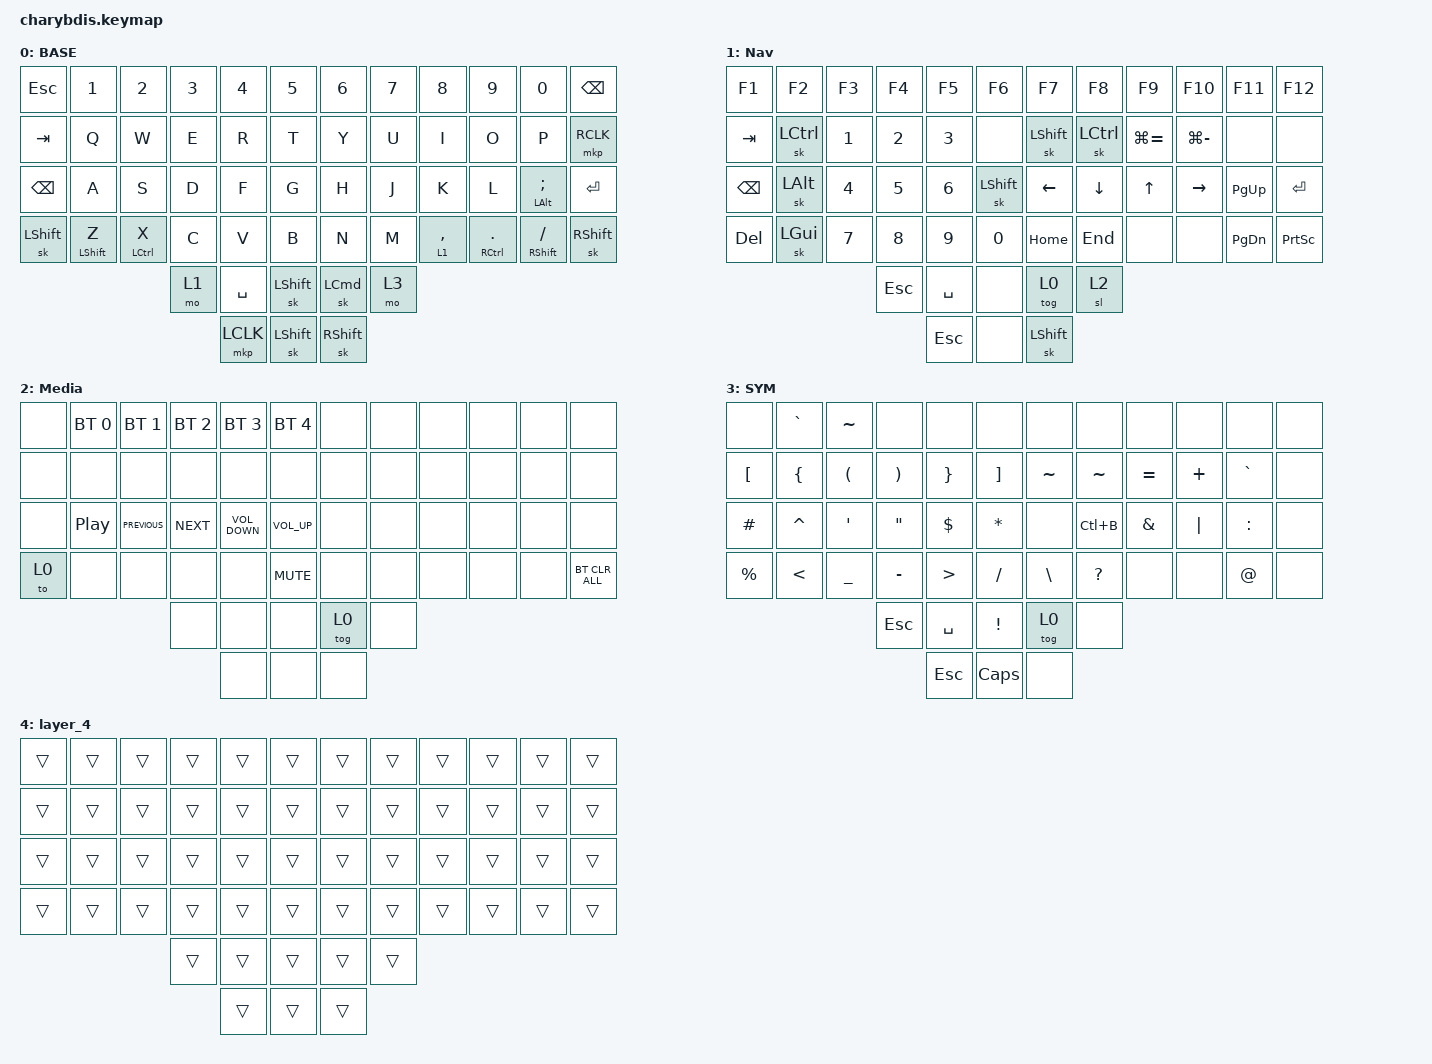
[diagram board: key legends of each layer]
#include <dt-bindings/zmk/mouse.h>
#include <behaviors/mouse_keys.dtsi>
#include <behaviors.dtsi>
#include <dt-bindings/zmk/bt.h>
#include <dt-bindings/zmk/keys.h>
#include <dt-bindings/zmk/pointing.h>

#define Base    0
#define Nav     1
#define Media   2
#define Symbols 3
#define Scroll  4
#define Lewd    5
#define KEYS_L 0  1  2  3  4  5  12 13 14 15 16 17 24 25 26 27 28 29 36 37 38 39 40 41
#define KEYS_R 6  7  8  9  10 11 18 19 20 21 22 23 30 31 32 33 34 35 42 43 44 45 46 47
#define NAVIGATION 30 31 32 33
#define THUMBS 48 49 50 51 52 53 54 55

&sk { quick-release; };

/ {
    /* trackball as cursor on base and nav layers */

    trackball_listener {
        compatible = "zmk,input-behavior-listener";
        device = <&trackball>;
        layers = <Base>;
        evt-type = <INPUT_EV_REL>;
        x-input-code = <INPUT_REL_X>;
        y-input-code = <INPUT_REL_Y>;
        scale-multiplier = <1>;
        scale-divisor = <2>;
    };

    trackball_scroll_listener {
        compatible = "zmk,input-behavior-listener";
        device = <&trackball>;
        layers = <Nav>;
        evt-type = <INPUT_EV_REL>;
        x-input-code = <INPUT_REL_MISC>;
        y-input-code = <INPUT_REL_WHEEL>;
        scale-multiplier = <1>;
        scale-divisor = <8>;
        y-invert;
        bindings = <&ib_wheel_scaler 1 20>;
    };

    ib_wheel_scaler: ib_wheel_scaler {
        compatible = "zmk,input-behavior-scaler";
        #binding-cells = <2>;
        evt-type = <INPUT_EV_REL>;
        input-code = <INPUT_REL_WHEEL>;
    };

    behaviors {
        hml: home_row_mod_left {
            compatible = "zmk,behavior-hold-tap";
            #binding-cells = <2>;
            flavor = "balanced";
            tapping-term-ms = <125>;
            quick-tap-ms = <140>;
            bindings = <&kp>, <&kp>;

            hold-trigger-key-positions = <KEYS_R THUMBS>;
            hold-trigger-on-release;
        };

        hmr: home_row_mod_right {
            compatible = "zmk,behavior-hold-tap";
            #binding-cells = <2>;
            flavor = "balanced";
            tapping-term-ms = <125>;
            quick-tap-ms = <140>;
            bindings = <&kp>, <&kp>;

            hold-trigger-key-positions = <KEYS_L THUMBS NAVIGATION>;
            hold-trigger-on-release;
        };

        mo_tog: mo_tog {
            compatible = "zmk,behavior-hold-tap";
            label = "MO_TOG";
            bindings = <&mo>, <&tog>;

            #binding-cells = <2>;
            tapping-term-ms = <200>;
        };

        mo_sl: mo_sl {
            compatible = "zmk,behavior-hold-tap";
            #binding-cells = <2>;
            flavor = "hold-preferred";
            tapping-term-ms = <200>;
            quick-tap-ms = <200>;
            bindings = <&sl>, <&mo>;
        };

        osm_mod: osm_mod {
            compatible = "zmk,behavior-hold-tap";
            #binding-cells = <2>;
            flavor = "tap-preferred";
            tapping-term-ms = <200>;
            quick-tap-ms = <200>;
            bindings = <&sk>, <&kp>;
        };

        hmr_shift: hmr_shift {
            compatible = "zmk,behavior-hold-tap";
            label = "HMR_SHIFT";
            bindings = <&kp>, <&kp>;

            flavor = "tap-preferred";
            #binding-cells = <2>;
            tapping-term-ms = <125>;
            hold-trigger-on-release;
            hold-trigger-key-positions = <KEYS_L THUMBS>;
            quick-tap-ms = <175>;
        };

        hml_shift: hml_shift {
            compatible = "zmk,behavior-hold-tap";
            label = "HML_SHIFT";
            bindings = <&kp>, <&kp>;

            flavor = "tap-preferred";
            #binding-cells = <2>;
            tapping-term-ms = <125>;
            hold-trigger-key-positions = <KEYS_R THUMBS>;
            hold-trigger-on-release;
            quick-tap-ms = <175>;
        };
    };

    keymap {
        compatible = "zmk,keymap";

        Base {
            label = "BASE";
            bindings = <
&kp ESC         &kp N1                   &kp N2               &kp N3  &kp N4     &kp N5            &kp N6            &kp N7  &kp N8       &kp N9             &kp N0                        &kp BACKSPACE
&kp TAB         &kp Q                    &kp W                &kp E   &kp R      &kp T             &kp Y             &kp U   &kp I        &kp O              &kp P                         &mkp RCLK
&kp BACKSPACE   &kp A                    &kp S                &kp D   &kp F      &kp G             &kp H             &kp J   &kp K        &kp L              &hmr LEFT_ALT SEMI            &kp ENTER
&sk LEFT_SHIFT  &hml_shift LEFT_SHIFT Z  &hml LEFT_CONTROL X  &kp C   &kp V      &kp B             &kp N             &kp M   &lt 1 COMMA  &hmr RCTRL PERIOD  &hmr_shift RIGHT_SHIFT SLASH  &sk RIGHT_SHIFT
                                                              &mo 1   &kp SPACE  &sk LEFT_SHIFT    &sk LEFT_COMMAND  &mo 3
                                                                      &mkp LCLK  &sk LEFT_SHIFT    &sk RIGHT_SHIFT
            >;
        };

        Nav {
            bindings = <
&kp F1      &kp F2     &kp F3  &kp F4      &kp F5      &kp F6            &kp F7          &kp F8     &kp F9         &kp F10        &kp F11        &kp F12
&kp TAB     &sk LCTRL  &kp N1  &kp N2      &kp N3      &none             &sk LSHFT       &sk LCTRL  &kp LG(EQUAL)  &kp LG(MINUS)  &none          &none
&kp BSPC    &sk LALT   &kp N4  &kp N5      &kp N6      &sk LEFT_SHIFT    &kp LEFT        &kp DOWN   &kp UP         &kp RIGHT      &kp PAGE_UP    &kp ENTER
&kp DELETE  &sk LGUI   &kp N7  &kp N8      &kp N9      &kp N0            &kp HOME        &kp END    &none          &none          &kp PAGE_DOWN  &kp PRINTSCREEN
                               &kp ESCAPE  &kp SPACE   &none             &tog 0          &sl 2
                                           &kp ESCAPE  &none             &sk LEFT_SHIFT
            >;
        };

        Media {
            bindings = <
&none  &bt BT_SEL 0      &bt BT_SEL 1    &bt BT_SEL 2  &bt BT_SEL 3       &bt BT_SEL 4       &none   &none  &none  &none  &none  &none
&none  &none             &none           &none         &none              &none              &none   &none  &none  &none  &none  &none
&none  &kp C_PLAY_PAUSE  &kp C_PREVIOUS  &kp C_NEXT    &kp C_VOLUME_DOWN  &kp C_VOLUME_UP    &none   &none  &none  &none  &none  &none
&to 0  &none             &none           &none         &none              &kp C_MUTE         &none   &none  &none  &none  &none  &bt BT_CLR_ALL
                                         &none         &none              &none              &tog 0  &none
                                                       &none              &none              &none
            >;
        };

        Symbols {
            label = "SYM";
            bindings = <
&none             &kp GRAVE       &kp TILDE             &none                  &none             &none                &none          &none         &none          &none     &none        &none
&kp LEFT_BRACKET  &kp LEFT_BRACE  &kp LEFT_PARENTHESIS  &kp RIGHT_PARENTHESIS  &kp RIGHT_BRACE   &kp RIGHT_BRACKET    &kp TILDE      &kp TILDE     &kp EQUAL      &kp PLUS  &kp GRAVE    &none
&kp HASH          &kp CARET       &kp SINGLE_QUOTE      &kp DOUBLE_QUOTES      &kp DOLLAR        &kp STAR             &none          &kp LC(B)     &kp AMPERSAND  &kp PIPE  &kp COLON    &none
&kp PERCENT       &kp LESS_THAN   &kp UNDERSCORE        &kp MINUS              &kp GREATER_THAN  &kp FSLH             &kp BACKSLASH  &kp QUESTION  &none          &none     &kp AT_SIGN  &none
                                                        &kp ESCAPE             &kp SPACE         &kp EXCLAMATION      &tog 0         &none
                                                                               &kp ESCAPE        &kp CAPSLOCK         &none
            >;
        };

        layer_4 {
            bindings = <
&trans  &trans  &trans  &trans  &trans  &trans    &trans  &trans  &trans  &trans  &trans  &trans
&trans  &trans  &trans  &trans  &trans  &trans    &trans  &trans  &trans  &trans  &trans  &trans
&trans  &trans  &trans  &trans  &trans  &trans    &trans  &trans  &trans  &trans  &trans  &trans
&trans  &trans  &trans  &trans  &trans  &trans    &trans  &trans  &trans  &trans  &trans  &trans
                        &trans  &trans  &trans    &trans  &trans
                                &trans  &trans    &trans
            >;
        };
    };
};
